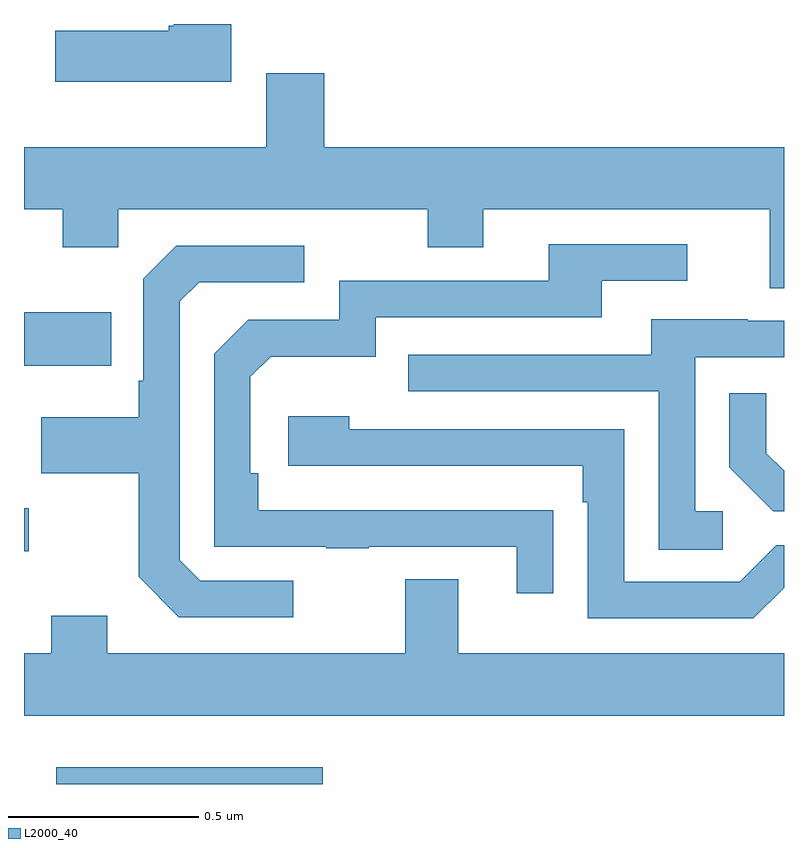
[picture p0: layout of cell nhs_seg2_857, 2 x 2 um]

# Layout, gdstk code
import gdstk
lib = gdstk.Library(unit=1e-6, precision=1e-09)
def R(c, l, rs):  # rectangles x0, y0, x1, y1
    for r in rs: c.add(gdstk.rectangle(r[:2], r[2:], *l))
def P(c, l, *ps):  # polygons
    for p in ps: c.add(gdstk.Polygon(p, *l))
L2000_40 = (2000, 40)

nhs_seg2_857 = lib.new_cell('nhs_seg2_857')
R(nhs_seg2_857, L2000_40, [(121.085,636.8,121.786,636.844), (121,637.413,121.012,637.526), (121,637.901,121.229,638.041)])
P(nhs_seg2_857, L2000_40, [(121.546,638.8),(121.394,638.8),(121.394,638.796),(121.381,638.796),(121.381,638.782),(121.082,638.782),(121.082,638.648),(121.546,638.648)],
  [(123,638.476),(121.79,638.476),(121.79,638.671),(121.637,638.671),(121.637,638.476),(121,638.476),(121,638.312),(121.102,638.312),(121.102,638.213),(121.248,638.213),(121.248,638.312),(122.062,638.312),(122.062,638.213),(122.209,638.213),(122.209,638.312),(122.963,638.312),(122.963,638.104),(123,638.104)],
  [(122.393,637.52),(122.291,637.52),(122.291,637.521),(121.616,637.521),(121.616,637.618),(121.596,637.618),(121.596,637.872),(121.649,637.925),(121.926,637.925),(121.926,638.028),(122.521,638.028),(122.521,638.124),(122.746,638.124),(122.746,638.22),(122.381,638.22),(122.381,638.124),(121.83,638.124),(121.83,638.022),(121.59,638.022),(121.5,637.932),(121.5,637.425),(121.795,637.425),(121.795,637.42),(121.907,637.42),(121.907,637.425),(122.297,637.425),(122.297,637.302),(122.393,637.302)],
  [(121.708,637.335),(121.464,637.335),(121.41,637.389),(121.41,638.07),(121.461,638.121),(121.738,638.121),(121.738,638.217),(121.401,638.217),(121.314,638.13),(121.314,637.861),(121.302,637.861),(121.302,637.765),(121.045,637.765),(121.045,637.618),(121.302,637.618),(121.302,637.345),(121.407,637.239),(121.708,637.239)],
  [(122.839,637.518),(122.766,637.518),(122.766,637.923),(123,637.923),(123,638.019),(122.905,638.019),(122.905,638.023),(122.651,638.023),(122.651,637.929),(122.011,637.929),(122.011,637.833),(122.67,637.833),(122.67,637.417),(122.839,637.417)],
  [(123,637.624),(122.953,637.671),(122.953,637.828),(122.856,637.828),(122.856,637.634),(122.972,637.518),(123,637.518)],
  [(123,637.317),(123,637.428),(122.979,637.428),(122.883,637.332),(122.58,637.332),(122.58,637.734),(121.856,637.734),(121.856,637.768),(121.695,637.768),(121.695,637.638),(122.471,637.638),(122.471,637.541),(122.484,637.541),(122.484,637.236),(122.919,637.236)],
  [(123,637.144),(122.143,637.144),(122.143,637.339),(122.003,637.339),(122.003,637.144),(121.219,637.144),(121.219,637.243),(121.072,637.243),(121.072,637.144),(121,637.144),(121,636.98),(123,636.98)])

lib.write_gds('nhs_seg2_857.gds')
